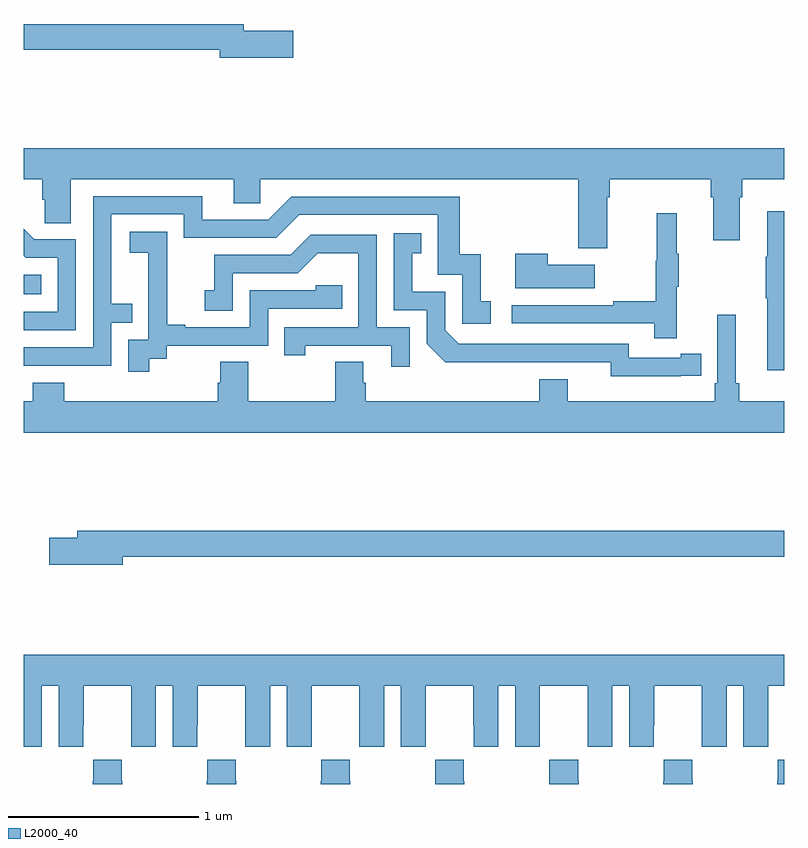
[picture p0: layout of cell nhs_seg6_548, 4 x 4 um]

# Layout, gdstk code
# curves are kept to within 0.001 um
import gdstk
lib = gdstk.Library(unit=1e-6, precision=1e-09)
def R(c, l, rs):  # rectangles x0, y0, x1, y1
    for r in rs: c.add(gdstk.rectangle(r[:2], r[2:], *l))
def P(c, l, *ps):  # polygons
    for p in ps: c.add(gdstk.Polygon(p, *l))
L2000_40 = (2000, 40)

nhs_seg6_548 = lib.new_cell('nhs_seg6_548')
R(nhs_seg6_548, L2000_40, [(145,936.074,145.094,936.178)])
P(nhs_seg6_548, L2000_40, [(146.419,937.46),(146.158,937.46),(146.158,937.496),(145,937.496),(145,937.36),(146.03,937.36),(146.03,937.318),(146.419,937.318)],
  [(148.069,936.584),(148.082,936.584),(148.082,936.68),(148.613,936.68),(148.613,936.584),(148.625,936.584),(148.625,936.36),(148.765,936.36),(148.765,936.584),(148.778,936.584),(148.778,936.68),(149,936.68),(149,936.844),(145,936.844),(145,936.68),(145.097,936.68),(145.097,936.571),(145.11,936.571),(145.11,936.448),(145.249,936.448),(145.249,936.68),(146.105,936.68),(146.105,936.553),(146.244,936.553),(146.244,936.68),(147.917,936.68),(147.917,936.318),(148.069,936.318)],
  [(145.461,935.925),(145.571,935.925),(145.571,936.026),(145.461,936.026),(145.461,936.495),(145.842,936.495),(145.842,936.372),(146.328,936.372),(146.448,936.492),(147.177,936.492),(147.177,936.177),(147.306,936.177),(147.306,935.919),(147.457,935.919),(147.457,936.039),(147.404,936.039),(147.404,936.286),(147.293,936.286),(147.293,936.588),(146.406,936.588),(146.286,936.468),(145.939,936.468),(145.939,936.591),(145.365,936.591),(145.365,935.796),(145,935.796),(145,935.7),(145.461,935.7)],
  [(149,936.511),(148.91,936.511),(148.91,936.272),(148.903,936.272),(148.903,936.055),(148.91,936.055),(148.91,935.676),(149,935.676)],
  [(148.433,936.115),(148.444,936.115),(148.444,936.289),(148.433,936.289),(148.433,936.502),(148.33,936.502),(148.33,936.252),(148.323,936.252),(148.323,936.038),(148.099,936.038),(148.099,936.018),(147.567,936.018),(147.567,935.922),(148.315,935.922),(148.315,935.844),(148.433,935.844)],
  [(145.275,936.363),(145.056,936.363),(145,936.419),(145,936.277),(145.01,936.267),(145.179,936.267),(145.179,935.982),(145,935.982),(145,935.886),(145.275,935.886)],
  [(145.66,935.737),(145.752,935.737),(145.752,935.805),(146.286,935.805),(146.286,936),(146.675,936),(146.675,936.123),(146.535,936.123),(146.535,936.096),(146.19,936.096),(146.19,935.901),(145.849,935.901),(145.849,935.914),(145.754,935.914),(145.754,936.197),(145.755,936.197),(145.755,936.403),(145.557,936.403),(145.557,936.293),(145.655,936.293),(145.655,936.065),(145.656,936.065),(145.656,935.835),(145.551,935.835),(145.551,935.667),(145.66,935.667)],
  [(148.454,935.646),(148.562,935.646),(148.562,935.762),(148.454,935.762),(148.454,935.742),(148.182,935.742),(148.182,935.814),(147.288,935.814),(147.216,935.886),(147.216,936.087),(147.043,936.087),(147.043,936.291),(147.092,936.291),(147.092,936.397),(146.946,936.397),(146.946,935.991),(147.12,935.991),(147.12,935.814),(147.218,935.717),(148.086,935.718),(148.086,935.645)],
  [(147.03,935.901),(146.856,935.901),(146.856,936.387),(146.51,936.387),(146.405,936.282),(146.002,936.282),(146.002,936.097),(145.953,936.097),(145.953,935.988),(146.1,935.988),(146.1,936.186),(146.442,936.186),(146.546,936.29),(146.76,936.29),(146.76,935.901),(146.371,935.901),(146.371,935.754),(146.482,935.754),(146.482,935.805),(146.933,935.805),(146.933,935.694),(147.03,935.694)],
  [(148.003,936.229),(147.755,936.229),(147.755,936.289),(147.584,936.289),(147.584,936.107),(148.003,936.107)],
  [(149,935.512),(148.763,935.512),(148.763,935.608),(148.744,935.608),(148.744,935.968),(148.647,935.968),(148.647,935.608),(148.634,935.608),(148.634,935.512),(147.862,935.512),(147.862,935.629),(147.71,935.629),(147.71,935.512),(146.798,935.512),(146.798,935.61),(146.785,935.61),(146.785,935.72),(146.638,935.72),(146.638,935.512),(146.181,935.512),(146.181,935.72),(146.033,935.72),(146.033,935.61),(146.021,935.61),(146.021,935.512),(145.214,935.512),(145.214,935.611),(145.049,935.611),(145.049,935.512),(145,935.512),(145,935.348),(149,935.348)],
  [(145.522,934.696),(149,934.696),(149,934.832),(145.283,934.832),(145.283,934.796),(145.134,934.796),(145.134,934.654),(145.522,934.654)],
  [(145.096,934.016),(145.184,934.016),(145.184,933.696),(145.314,933.696),(145.314,933.808),(145.315,933.808),(145.315,934.016),(145.565,934.016),(145.565,933.808),(145.566,933.808),(145.566,933.696),(145.696,933.696),(145.696,934.016),(145.784,934.016),(145.784,933.696),(145.914,933.696),(145.914,933.808),(145.915,933.808),(145.915,934.016),(146.165,934.016),(146.165,933.808),(146.166,933.808),(146.166,933.696),(146.296,933.696),(146.296,934.016),(146.384,934.016),(146.384,933.696),(146.514,933.696),(146.514,933.808),(146.515,933.808),(146.515,934.016),(146.765,934.016),(146.765,933.808),(146.766,933.808),(146.766,933.696),(146.896,933.696),(146.896,934.016),(146.984,934.016),(146.984,933.696),(147.114,933.696),(147.114,933.808),(147.115,933.808),(147.115,934.016),(147.365,934.016),(147.365,933.808),(147.366,933.808),(147.366,933.696),(147.496,933.696),(147.496,934.016),(147.584,934.016),(147.584,933.696),(147.714,933.696),(147.714,933.808),(147.715,933.808),(147.715,934.016),(147.965,934.016),(147.965,933.808),(147.966,933.808),(147.966,933.696),(148.096,933.696),(148.096,934.016),(148.184,934.016),(148.184,933.696),(148.314,933.696),(148.314,933.808),(148.315,933.808),(148.315,934.016),(148.565,934.016),(148.565,933.808),(148.566,933.808),(148.566,933.696),(148.696,933.696),(148.696,934.016),(148.784,934.016),(148.784,933.696),(148.914,933.696),(148.914,933.808),(148.915,933.808),(148.915,934.016),(149,934.016),(149,934.18),(145,934.18),(145,933.696),(145.096,933.696)],
  [(148.518,933.515),(148.515,933.515),(148.515,933.628),(148.365,933.628),(148.365,933.515),(148.363,933.515),(148.363,933.5),(148.518,933.5)],
  [(145.518,933.515),(145.515,933.515),(145.515,933.628),(145.365,933.628),(145.365,933.515),(145.363,933.515),(145.363,933.5),(145.518,933.5)],
  [(146.118,933.515),(146.115,933.515),(146.115,933.628),(145.965,933.628),(145.965,933.515),(145.963,933.515),(145.963,933.5),(146.118,933.5)],
  [(146.718,933.515),(146.715,933.515),(146.715,933.628),(146.565,933.628),(146.565,933.515),(146.563,933.515),(146.563,933.5),(146.718,933.5)],
  [(147.318,933.515),(147.315,933.515),(147.315,933.628),(147.165,933.628),(147.165,933.515),(147.163,933.515),(147.163,933.5),(147.318,933.5)],
  [(147.918,933.515),(147.915,933.515),(147.915,933.628),(147.765,933.628),(147.765,933.515),(147.763,933.515),(147.763,933.5),(147.918,933.5)],
  [(149,933.628),(148.965,933.628),(148.965,933.515),(148.963,933.515),(148.963,933.5),(149,933.5)])

lib.write_gds('nhs_seg6_548.gds')
